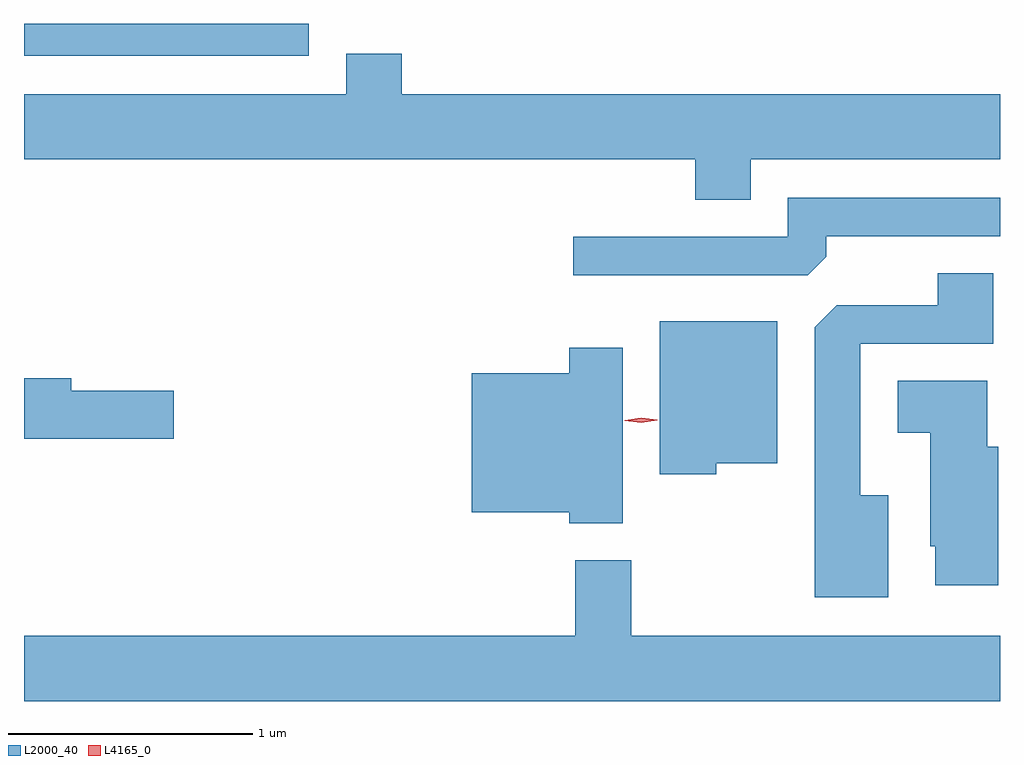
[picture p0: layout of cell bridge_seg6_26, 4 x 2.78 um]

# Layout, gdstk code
import gdstk
lib = gdstk.Library(unit=1e-6, precision=1e-09)
def R(c, l, rs):  # rectangles x0, y0, x1, y1
    for r in rs: c.add(gdstk.rectangle(r[:2], r[2:], *l))
def P(c, l, *ps):  # polygons
    for p in ps: c.add(gdstk.Polygon(p, *l))
L2000_40 = (2000, 40)
L4165_0 = (4165, 0)

bridge_seg6_26 = lib.new_cell('bridge_seg6_26')
R(bridge_seg6_26, L2000_40, [(1819.231,1668.121,1820.399,1668.252)])
P(bridge_seg6_26, L2000_40, [(1822.209,1667.696),(1823.231,1667.696),(1823.231,1667.964),(1820.779,1667.964),(1820.779,1668.129),(1820.551,1668.129),(1820.551,1667.964),(1819.231,1667.964),(1819.231,1667.696),(1821.981,1667.696),(1821.981,1667.531),(1822.209,1667.531)],
  [(1822.519,1667.297),(1822.519,1667.381),(1823.231,1667.381),(1823.231,1667.539),(1822.361,1667.539),(1822.361,1667.379),(1821.483,1667.379),(1821.483,1667.221),(1822.444,1667.221)],
  [(1822.774,1666.319),(1822.659,1666.319),(1822.659,1666.941),(1823.204,1666.941),(1823.204,1667.229),(1822.976,1667.229),(1822.976,1667.099),(1822.562,1667.099),(1822.471,1667.009),(1822.471,1665.901),(1822.774,1665.901)],
  [(1822.069,1666.451),(1822.319,1666.451),(1822.319,1667.034),(1821.836,1667.034),(1821.836,1666.406),(1822.069,1666.406)],
  [(1821.684,1666.924),(1821.466,1666.924),(1821.466,1666.819),(1821.066,1666.819),(1821.066,1666.251),(1821.466,1666.251),(1821.466,1666.206),(1821.684,1666.206)],
  [(1819.844,1666.749),(1819.424,1666.749),(1819.424,1666.799),(1819.231,1666.799),(1819.231,1666.551),(1819.844,1666.551)],
  [(1823.224,1666.519),(1823.179,1666.519),(1823.179,1666.789),(1822.811,1666.789),(1822.811,1666.576),(1822.946,1666.576),(1822.946,1666.111),(1822.966,1666.111),(1822.966,1665.951),(1823.224,1665.951)],
  [(1823.231,1665.744),(1821.719,1665.744),(1821.719,1666.054),(1821.491,1666.054),(1821.491,1665.744),(1819.231,1665.744),(1819.231,1665.476),(1823.231,1665.476)])
P(bridge_seg6_26, L4165_0, [(1821.76,1666.618),(1821.694,1666.626),(1821.694,1666.627),(1821.694,1666.627),(1821.76,1666.638),(1821.826,1666.629),(1821.827,1666.629),(1821.826,1666.628)])

lib.write_gds('bridge_seg6_26.gds')
